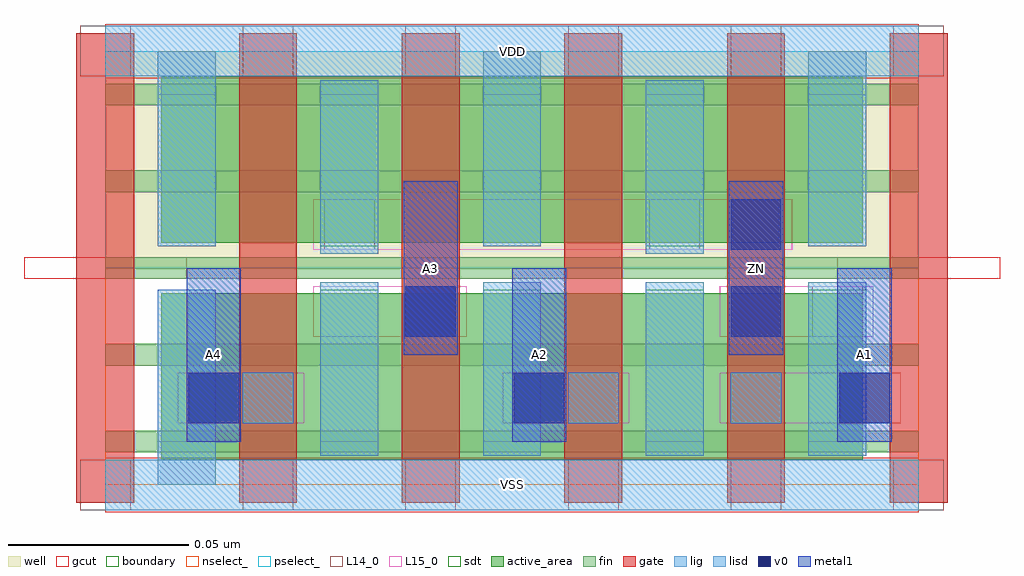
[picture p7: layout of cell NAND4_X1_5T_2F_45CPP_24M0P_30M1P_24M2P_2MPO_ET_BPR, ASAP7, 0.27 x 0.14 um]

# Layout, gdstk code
import gdstk
lib = gdstk.Library(unit=1e-6, precision=2.5e-10)
def R(c, l, rs):  # rectangles x0, y0, x1, y1
    for r in rs: c.add(gdstk.rectangle(r[:2], r[2:], *l))
def A(c, l, x, y, w, h, nx, ny, dx, dy):  # array of equal rectangles
    R(c, l, [(x+i*dx, y+j*dy, x+i*dx+w, y+j*dy+h) for i in range(nx) for j in range(ny)])
well = (1, 0)
fin = (2, 0)
gate = (7, 0)
gcut = (10, 0)
active_area = (11, 0)
nselect_ = (12, 0)
pselect_ = (13, 0)
L14_0 = (14, 0)
L15_0 = (15, 0)
lig = (16, 0)
lisd = (17, 0)
v0 = (18, 0)
metal1 = (19, 0)
sdt = (88, 0)
boundary = (100, 0)

nand4_x1_5t_2f_45cpp_24m = lib.new_cell('NAND4_X1_5T_2F_45CPP_24M0P_30M1P_24M2P_2MPO_ET_BPR')
R(nand4_x1_5t_2f_45cpp_24m, well, [(0,0.06,0.225,0.12)])
A(nand4_x1_5t_2f_45cpp_24m, fin, 0, 0.009, 0.225, 0.006, 1, 5, 0, 0.024)
A(nand4_x1_5t_2f_45cpp_24m, gate, -0.008, -0.005, 0.016, 0.13, 6, 1, 0.045, 0)
R(nand4_x1_5t_2f_45cpp_24m, gcut, [(0,-0.0075,0.225,0.0075), (-0.0225,0.057,0.0225,0.063), (0.2025,0.057,0.2475,0.063), (0,0.1125,0.225,0.1275)])
A(nand4_x1_5t_2f_45cpp_24m, active_area, 0.0155, 0.007, 0.059, 0.046, 4, 2, 0.045, 0.06)
R(nand4_x1_5t_2f_45cpp_24m, nselect_, [(0,0,0.225,0.06)])
R(nand4_x1_5t_2f_45cpp_24m, pselect_, [(0,0.06,0.225,0.12)])
A(nand4_x1_5t_2f_45cpp_24m, L14_0, -0.007, -0.007, 0.014, 0.014, 6, 2, 0.045, 0.12)
R(nand4_x1_5t_2f_45cpp_24m, L14_0, [(0.038,0.017,0.052,0.031), (0.128,0.017,0.142,0.031), (0.173,0.017,0.187,0.031), (0.083,0.041,0.097,0.055), (0.1955,0.041,0.2095,0.055), (0.0605,0.065,0.0745,0.079), (0.1505,0.065,0.1645,0.079)])
R(nand4_x1_5t_2f_45cpp_24m, L15_0, [(0,-0.007,0.225,0.007), (0.02,0.017,0.055,0.031), (0.11,0.017,0.145,0.031), (0.17,0.017,0.22,0.031), (0.0575,0.041,0.1,0.055), (0.17,0.041,0.2125,0.055), (0.0575,0.065,0.19,0.079), (0,0.113,0.225,0.127)])
R(nand4_x1_5t_2f_45cpp_24m, lig, [(0,-0.007,0.225,0.007), (0.038,0.017,0.052,0.031), (0.128,0.017,0.142,0.031), (0.173,0.017,0.187,0.031), (0.083,0.041,0.097,0.055), (0,0.113,0.225,0.127)])
A(nand4_x1_5t_2f_45cpp_24m, lisd, 0.0595, 0.008, 0.016, 0.048, 4, 1, 0.045, 0)
A(nand4_x1_5t_2f_45cpp_24m, lisd, 0.0145, 0.066, 0.016, 0.054, 3, 1, 0.09, 0)
R(nand4_x1_5t_2f_45cpp_24m, lisd, [(0.0145,0,0.0305,0.054), (0.0595,0.064,0.0755,0.112), (0.1495,0.064,0.1655,0.112)])
A(nand4_x1_5t_2f_45cpp_24m, v0, 0.023, 0.017, 0.014, 0.014, 3, 1, 0.09, 0)
R(nand4_x1_5t_2f_45cpp_24m, v0, [(0.083,0.041,0.097,0.055), (0.173,0.041,0.187,0.055), (0.173,0.065,0.187,0.079)])
A(nand4_x1_5t_2f_45cpp_24m, metal1, 0.0225, 0.012, 0.015, 0.048, 3, 1, 0.09, 0)
R(nand4_x1_5t_2f_45cpp_24m, metal1, [(0.0825,0.036,0.0975,0.084), (0.1725,0.036,0.1875,0.084)])
A(nand4_x1_5t_2f_45cpp_24m, sdt, 0.0145, 0.012, 0.016, 0.042, 5, 2, 0.045, 0.054)
R(nand4_x1_5t_2f_45cpp_24m, boundary, [(0,0,0.225,0.12)])
nand4_x1_5t_2f_45cpp_24m.add(gdstk.Label('ZN', (0.18,0.06), layer=19, texttype=251))
nand4_x1_5t_2f_45cpp_24m.add(gdstk.Label('A1', (0.21,0.036), layer=19, texttype=251))
nand4_x1_5t_2f_45cpp_24m.add(gdstk.Label('A2', (0.12,0.036), layer=19, texttype=251))
nand4_x1_5t_2f_45cpp_24m.add(gdstk.Label('A3', (0.09,0.06), layer=19, texttype=251))
nand4_x1_5t_2f_45cpp_24m.add(gdstk.Label('A4', (0.03,0.036), layer=19, texttype=251))
nand4_x1_5t_2f_45cpp_24m.add(gdstk.Label('VDD', (0.1125,0.12), layer=15, texttype=251))
nand4_x1_5t_2f_45cpp_24m.add(gdstk.Label('VSS', (0.1125,0), layer=15, texttype=251))
nand4_x1_5t_2f_45cpp_24m.add(gdstk.Label('VDD', (0.1125,0.12), layer=1, texttype=251))
nand4_x1_5t_2f_45cpp_24m.add(gdstk.Label('VSS', (0.1125,0), layer=3, texttype=251))

lib.write_gds('NAND4_X1_5T_2F_45CPP_24M0P_30M1P_24M2P_2MPO_ET_BPR.gds')
